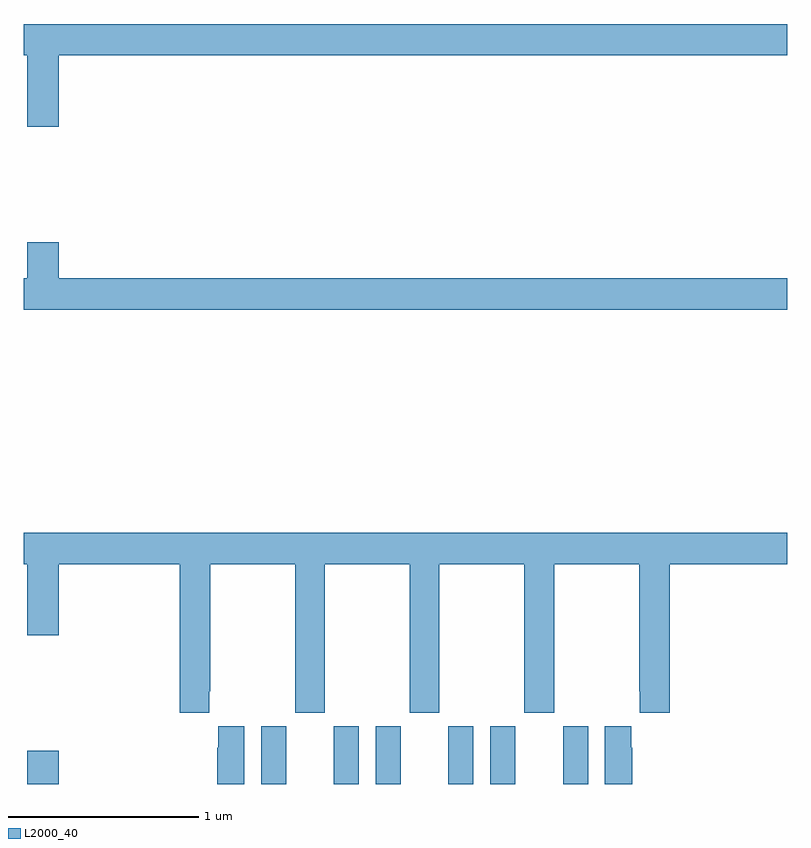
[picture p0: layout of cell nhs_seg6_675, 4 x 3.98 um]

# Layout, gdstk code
import gdstk
lib = gdstk.Library(unit=1e-6, precision=1e-09)
def R(c, l, rs):  # rectangles x0, y0, x1, y1
    for r in rs: c.add(gdstk.rectangle(r[:2], r[2:], *l))
def P(c, l, *ps):  # polygons
    for p in ps: c.add(gdstk.Polygon(p, *l))
L2000_40 = (2000, 40)

nhs_seg6_675 = lib.new_cell('nhs_seg6_675')
R(nhs_seg6_675, L2000_40, [(153.02,963.5,153.184,963.673), (154.244,963.5,154.375,963.802), (154.625,963.5,154.756,963.802), (154.844,963.5,154.975,963.802), (155.225,963.5,155.356,963.802), (155.444,963.5,155.575,963.802), (155.825,963.5,155.956,963.802)])
P(nhs_seg6_675, L2000_40, [(153.184,967.316),(157,967.316),(157,967.48),(153,967.48),(153,967.316),(153.02,967.316),(153.02,966.942),(153.184,966.942)],
  [(157,966.148),(153.184,966.148),(153.184,966.337),(153.02,966.337),(153.02,966.148),(153,966.148),(153,965.984),(157,965.984)],
  [(153.973,963.985),(153.978,963.985),(153.978,964.652),(154.423,964.652),(154.423,963.873),(154.578,963.873),(154.578,964.652),(155.023,964.652),(155.023,963.873),(155.178,963.873),(155.178,964.652),(155.623,964.652),(155.623,963.873),(155.778,963.873),(155.778,964.652),(156.223,964.652),(156.223,963.985),(156.227,963.985),(156.227,963.873),(156.383,963.873),(156.383,964.652),(157,964.652),(157,964.816),(153,964.816),(153,964.652),(153.02,964.652),(153.02,964.278),(153.184,964.278),(153.184,964.652),(153.818,964.652),(153.818,963.873),(153.973,963.873)],
  [(154.156,963.802),(154.019,963.802),(154.019,963.689),(154.013,963.689),(154.013,963.5),(154.156,963.5)],
  [(156.188,963.689),(156.181,963.689),(156.181,963.802),(156.044,963.802),(156.044,963.5),(156.188,963.5)])

lib.write_gds('nhs_seg6_675.gds')
